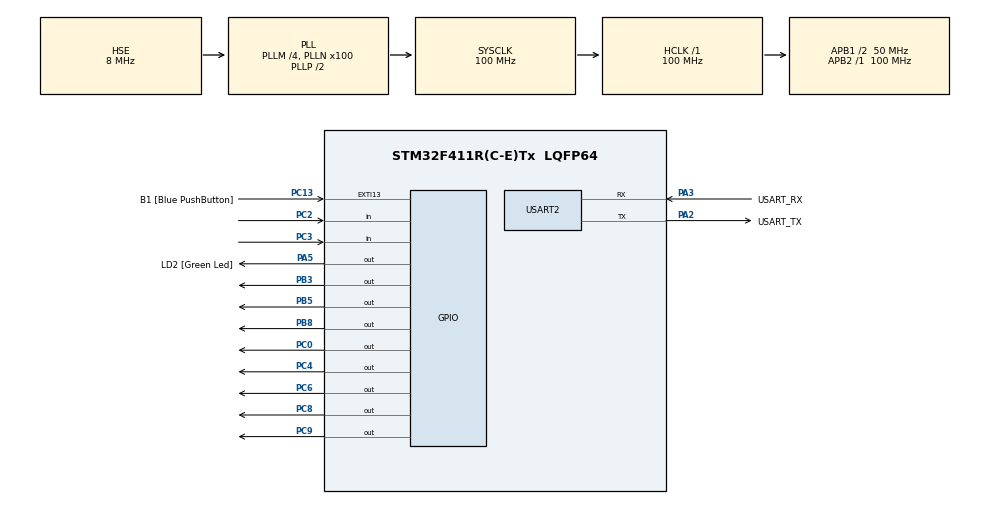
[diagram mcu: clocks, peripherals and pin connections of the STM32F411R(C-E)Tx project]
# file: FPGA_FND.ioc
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Mcu.Family=STM32F4
Mcu.Name=STM32F411R(C-E)Tx
Mcu.Package=LQFP64
NVIC.PriorityGroup=NVIC_PRIORITYGROUP_0
NVIC.TIM1_UP_TIM10_IRQn=true\:0\:0\:false\:false\:true\:true\:true
NVIC.TIM5_IRQn=true\:0\:0\:false\:false\:true\:true\:true
PA13.GPIO_Label=TMS
PA13.Mode=Serial_Wire
PA13.Signal=SYS_JTMS-SWDIO
PA14.GPIO_Label=TCK
PA14.Mode=Serial_Wire
PA14.Signal=SYS_JTCK-SWCLK
PA2.GPIO_Label=USART_TX
PA2.Mode=Asynchronous
PA2.Signal=USART2_TX
PA3.GPIO_Label=USART_RX
PA3.Mode=Asynchronous
PA3.Signal=USART2_RX
PA5.GPIO_Label=LD2 [Green Led]
PA5.Signal=GPIO_Output
PB3.Signal=GPIO_Output
PB5.Signal=GPIO_Output
PB8.Signal=GPIO_Output
PC0.Signal=GPIO_Output
PC13-ANTI_TAMP.GPIO_Label=B1 [Blue PushButton]
PC13-ANTI_TAMP.GPIO_ModeDefaultEXTI=GPIO_MODE_IT_FALLING
PC13-ANTI_TAMP.Signal=GPXTI13
PC14-OSC32_IN.Signal=RCC_OSC32_IN
PC15-OSC32_OUT.Signal=RCC_OSC32_OUT
PC2.Signal=GPIO_Input
PC3.Signal=GPIO_Input
PC4.Signal=GPIO_Output
PC6.Signal=GPIO_Output
PC8.Signal=GPIO_Output
PC9.Signal=GPIO_Output
PH0\ -\ OSC_IN.Mode=HSE-External-Oscillator
PH0\ -\ OSC_IN.Signal=RCC_OSC_IN
PH1\ -\ OSC_OUT.Mode=HSE-External-Oscillator
PH1\ -\ OSC_OUT.Signal=RCC_OSC_OUT
ProjectManager.HeapSize=0x200
ProjectManager.StackSize=0x400
ProjectManager.TargetToolchain=STM32CubeIDE
RCC.48MHZClocksFreq_Value=50000000
RCC.AHBFreq_Value=100000000
RCC.APB1CLKDivider=RCC_HCLK_DIV2
RCC.APB1Freq_Value=50000000
RCC.APB1TimFreq_Value=100000000
RCC.APB2Freq_Value=100000000
RCC.APB2TimFreq_Value=100000000
RCC.CortexFreq_Value=100000000
RCC.FLatency-AdvancedSettings=FLASH_LATENCY_3
RCC.HCLKFreq_Value=100000000
RCC.HSE_VALUE=8000000
RCC.HSI_VALUE=16000000
RCC.LSE_VALUE=32768
RCC.PLLM=4
RCC.PLLN=100
RCC.PLLSourceVirtual=RCC_PLLSOURCE_HSE
RCC.SYSCLKFreq_VALUE=100000000
RCC.SYSCLKSource=RCC_SYSCLKSOURCE_PLLCLK
RCC.VCOOutputFreq_Value=200000000
TIM1.Period=100-1
TIM1.Prescaler=1000-1
TIM5.Period=100-1
TIM5.Prescaler=1000-1
USART2.VirtualMode=VM_ASYNC
VP_TIM1_VS_ClockSourceINT.Mode=Internal
VP_TIM5_VS_ClockSourceINT.Mode=Internal
board=NUCLEO-F411RE

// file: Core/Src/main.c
/* USER CODE BEGIN Header */
/**
  ******************************************************************************
  * @file           : main.c
  * @brief          : Main program body
  ******************************************************************************
  * @attention
  *
  * <h2><center>&copy; Copyright (c) 2022 STMicroelectronics.
  * All rights reserved.</center></h2>
  *
  * This software component is licensed by ST under BSD 3-Clause license,
  * the "License"; You may not use this file except in compliance with the
  * License. You may obtain a copy of the License at:
  *                        opensource.org/licenses/BSD-3-Clause
  *
  ******************************************************************************
  */
/* USER CODE END Header */
#include "main.h"

/* USER CODE BEGIN Includes */
#include "Driver/FPGA_FND/FPGA_FND.h"
#include "Driver/Button/Button.h"
#include "Driver/Led/Led.h"
#include "Driver/Stopwatch/Stopwatch.h"
/* USER CODE END Includes */

TIM_HandleTypeDef htim1;
TIM_HandleTypeDef htim5;

UART_HandleTypeDef huart2;

void SystemClock_Config(void);
static void MX_GPIO_Init(void);
static void MX_USART2_UART_Init(void);
static void MX_TIM1_Init(void);
static void MX_TIM5_Init(void);

/* USER CODE BEGIN 0 */
void HAL_TIM_PeriodElapsedCallback(TIM_HandleTypeDef *htim)
{
	if(htim->Instance == TIM1)
	{
		FPGA_FND_DispFNDNumber();
	}
}
/* USER CODE END 0 */

int main(void)
{

  /* MCU Configuration--------------------------------------------------------*/

  /* Reset of all peripherals, Initializes the Flash interface and the Systick. */
  HAL_Init();

  /* Configure the system clock */
  SystemClock_Config();

  /* Initialize all configured peripherals */
  MX_GPIO_Init();
  MX_USART2_UART_Init();
  MX_TIM1_Init();
  MX_TIM5_Init();
  /* USER CODE BEGIN 2 */
  HAL_TIM_Base_Start_IT(&htim1);
  int num = 0;

  int watchState = STOPWATCH_STOP;
  int tempNum = 0;

  Button stopstartButton, resetButton;
  Button_GetInstance(&stopstartButton, GPIOC, GPIO_PIN_2);
  Button_GetInstance(&resetButton, GPIOC, GPIO_PIN_3);

  Led resetLed;
  Led_GetInstance(&resetLed, GPIOC, GPIO_PIN_0);

  /* USER CODE END 2 */

  /* Infinite loop */
  /* USER CODE BEGIN WHILE */
  while (1)
  {
	  switch(watchState)
	  {
	  case STOPWATCH_STOP:
		  if(Button_GetState(&stopstartButton) == ACTIVE_RELEASE)
		  {
			  watchState = STOPWATCH_START;
			  tempNum = num;
		  }
		  if(Button_GetState(&resetButton) == ACTIVE_RELEASE)
		  {
			  watchState = STOPWATCH_RESET;
			  Led_On(&resetLed);
		  }
		  FPGA_FND_SetNumber(tempNum);
		  break;

	  case STOPWATCH_START:
		  if(Button_GetState(&stopstartButton) == ACTIVE_RELEASE)
		  {
			  watchState = STOPWATCH_STOP;
			  tempNum = num;
		  }
		  FPGA_FND_SetNumber(num);
		  num++;
		  break;

	  case STOPWATCH_RESET:
		  if(Button_GetState(&resetButton) == ACTIVE_RELEASE)
		  {
			  watchState = STOPWATCH_STOP;
			  Led_Off(&resetLed);
		  }
		  num = 0;
		  tempNum = 0;
		  FPGA_FND_SetNumber(num);
		  break;
	  }
	  HAL_Delay(100);
    /* USER CODE END WHILE */

  }
}

void SystemClock_Config(void)
{
  RCC_OscInitTypeDef RCC_OscInitStruct = {0};
  RCC_ClkInitTypeDef RCC_ClkInitStruct = {0};

  /** Configure the main internal regulator output voltage
  */
  __HAL_RCC_PWR_CLK_ENABLE();
  __HAL_PWR_VOLTAGESCALING_CONFIG(PWR_REGULATOR_VOLTAGE_SCALE1);
  /** Initializes the RCC Oscillators according to the specified parameters
  * in the RCC_OscInitTypeDef structure.
  */
  RCC_OscInitStruct.OscillatorType = RCC_OSCILLATORTYPE_HSE;
  RCC_OscInitStruct.HSEState = RCC_HSE_ON;
  RCC_OscInitStruct.PLL.PLLState = RCC_PLL_ON;
  RCC_OscInitStruct.PLL.PLLSource = RCC_PLLSOURCE_HSE;
  RCC_OscInitStruct.PLL.PLLM = 4;
  RCC_OscInitStruct.PLL.PLLN = 100;
  RCC_OscInitStruct.PLL.PLLP = RCC_PLLP_DIV2;
  RCC_OscInitStruct.PLL.PLLQ = 4;
  if (HAL_RCC_OscConfig(&RCC_OscInitStruct) != HAL_OK)
  {
    Error_Handler();
  }
  /** Initializes the CPU, AHB and APB buses clocks
  */
  RCC_ClkInitStruct.ClockType = RCC_CLOCKTYPE_HCLK|RCC_CLOCKTYPE_SYSCLK
                              |RCC_CLOCKTYPE_PCLK1|RCC_CLOCKTYPE_PCLK2;
  RCC_ClkInitStruct.SYSCLKSource = RCC_SYSCLKSOURCE_PLLCLK;
  RCC_ClkInitStruct.AHBCLKDivider = RCC_SYSCLK_DIV1;
  RCC_ClkInitStruct.APB1CLKDivider = RCC_HCLK_DIV2;
  RCC_ClkInitStruct.APB2CLKDivider = RCC_HCLK_DIV1;

  if (HAL_RCC_ClockConfig(&RCC_ClkInitStruct, FLASH_LATENCY_3) != HAL_OK)
  {
    Error_Handler();
  }
}

static void MX_TIM1_Init(void)
{

  TIM_ClockConfigTypeDef sClockSourceConfig = {0};
  TIM_MasterConfigTypeDef sMasterConfig = {0};

  htim1.Instance = TIM1;
  htim1.Init.Prescaler = 1000-1;
  htim1.Init.CounterMode = TIM_COUNTERMODE_UP;
  htim1.Init.Period = 100-1;
  htim1.Init.ClockDivision = TIM_CLOCKDIVISION_DIV1;
  htim1.Init.RepetitionCounter = 0;
  htim1.Init.AutoReloadPreload = TIM_AUTORELOAD_PRELOAD_DISABLE;
  if (HAL_TIM_Base_Init(&htim1) != HAL_OK)
  {
    Error_Handler();
  }
  sClockSourceConfig.ClockSource = TIM_CLOCKSOURCE_INTERNAL;
  if (HAL_TIM_ConfigClockSource(&htim1, &sClockSourceConfig) != HAL_OK)
  {
    Error_Handler();
  }
  sMasterConfig.MasterOutputTrigger = TIM_TRGO_RESET;
  sMasterConfig.MasterSlaveMode = TIM_MASTERSLAVEMODE_DISABLE;
  if (HAL_TIMEx_MasterConfigSynchronization(&htim1, &sMasterConfig) != HAL_OK)
  {
    Error_Handler();
  }

}

static void MX_TIM5_Init(void)
{

  TIM_ClockConfigTypeDef sClockSourceConfig = {0};
  TIM_MasterConfigTypeDef sMasterConfig = {0};

  htim5.Instance = TIM5;
  htim5.Init.Prescaler = 1000-1;
  htim5.Init.CounterMode = TIM_COUNTERMODE_UP;
  htim5.Init.Period = 100-1;
  htim5.Init.ClockDivision = TIM_CLOCKDIVISION_DIV1;
  htim5.Init.AutoReloadPreload = TIM_AUTORELOAD_PRELOAD_DISABLE;
  if (HAL_TIM_Base_Init(&htim5) != HAL_OK)
  {
    Error_Handler();
  }
  sClockSourceConfig.ClockSource = TIM_CLOCKSOURCE_INTERNAL;
  if (HAL_TIM_ConfigClockSource(&htim5, &sClockSourceConfig) != HAL_OK)
  {
    Error_Handler();
  }
  sMasterConfig.MasterOutputTrigger = TIM_TRGO_RESET;
  sMasterConfig.MasterSlaveMode = TIM_MASTERSLAVEMODE_DISABLE;
  if (HAL_TIMEx_MasterConfigSynchronization(&htim5, &sMasterConfig) != HAL_OK)
  {
    Error_Handler();
  }

}

static void MX_USART2_UART_Init(void)
{

  huart2.Instance = USART2;
  huart2.Init.BaudRate = 115200;
  huart2.Init.WordLength = UART_WORDLENGTH_8B;
  huart2.Init.StopBits = UART_STOPBITS_1;
  huart2.Init.Parity = UART_PARITY_NONE;
  huart2.Init.Mode = UART_MODE_TX_RX;
  huart2.Init.HwFlowCtl = UART_HWCONTROL_NONE;
  huart2.Init.OverSampling = UART_OVERSAMPLING_16;
  if (HAL_UART_Init(&huart2) != HAL_OK)
  {
    Error_Handler();
  }

}

static void MX_GPIO_Init(void)
{
  GPIO_InitTypeDef GPIO_InitStruct = {0};

  /* GPIO Ports Clock Enable */
  __HAL_RCC_GPIOC_CLK_ENABLE();
  __HAL_RCC_GPIOH_CLK_ENABLE();
  __HAL_RCC_GPIOA_CLK_ENABLE();
  __HAL_RCC_GPIOB_CLK_ENABLE();

  /*Configure GPIO pin Output Level */
  HAL_GPIO_WritePin(GPIOC, GPIO_PIN_0|GPIO_PIN_4|GPIO_PIN_6|GPIO_PIN_8
                          |GPIO_PIN_9, GPIO_PIN_RESET);

  /*Configure GPIO pin Output Level */
  HAL_GPIO_WritePin(LD2_GPIO_Port, LD2_Pin, GPIO_PIN_RESET);

  /*Configure GPIO pin Output Level */
  HAL_GPIO_WritePin(GPIOB, GPIO_PIN_3|GPIO_PIN_5|GPIO_PIN_8, GPIO_PIN_RESET);

  /*Configure GPIO pin : B1_Pin */
  GPIO_InitStruct.Pin = B1_Pin;
  GPIO_InitStruct.Mode = GPIO_MODE_IT_FALLING;
  GPIO_InitStruct.Pull = GPIO_NOPULL;
  HAL_GPIO_Init(B1_GPIO_Port, &GPIO_InitStruct);

  /*Configure GPIO pins : PC0 PC4 PC6 PC8
                           PC9 */
  GPIO_InitStruct.Pin = GPIO_PIN_0|GPIO_PIN_4|GPIO_PIN_6|GPIO_PIN_8
                          |GPIO_PIN_9;
  GPIO_InitStruct.Mode = GPIO_MODE_OUTPUT_PP;
  GPIO_InitStruct.Pull = GPIO_NOPULL;
  GPIO_InitStruct.Speed = GPIO_SPEED_FREQ_LOW;
  HAL_GPIO_Init(GPIOC, &GPIO_InitStruct);

  /*Configure GPIO pins : PC2 PC3 */
  GPIO_InitStruct.Pin = GPIO_PIN_2|GPIO_PIN_3;
  GPIO_InitStruct.Mode = GPIO_MODE_INPUT;
  GPIO_InitStruct.Pull = GPIO_NOPULL;
  HAL_GPIO_Init(GPIOC, &GPIO_InitStruct);

  /*Configure GPIO pin : LD2_Pin */
  GPIO_InitStruct.Pin = LD2_Pin;
  GPIO_InitStruct.Mode = GPIO_MODE_OUTPUT_PP;
  GPIO_InitStruct.Pull = GPIO_NOPULL;
  GPIO_InitStruct.Speed = GPIO_SPEED_FREQ_LOW;
  HAL_GPIO_Init(LD2_GPIO_Port, &GPIO_InitStruct);

  /*Configure GPIO pins : PB3 PB5 PB8 */
  GPIO_InitStruct.Pin = GPIO_PIN_3|GPIO_PIN_5|GPIO_PIN_8;
  GPIO_InitStruct.Mode = GPIO_MODE_OUTPUT_PP;
  GPIO_InitStruct.Pull = GPIO_NOPULL;
  GPIO_InitStruct.Speed = GPIO_SPEED_FREQ_LOW;
  HAL_GPIO_Init(GPIOB, &GPIO_InitStruct);

}

void Error_Handler(void)
{
  __disable_irq();
  while (1)
  {
  }
}

/************************ (C) COPYRIGHT STMicroelectronics *****END OF FILE****/
